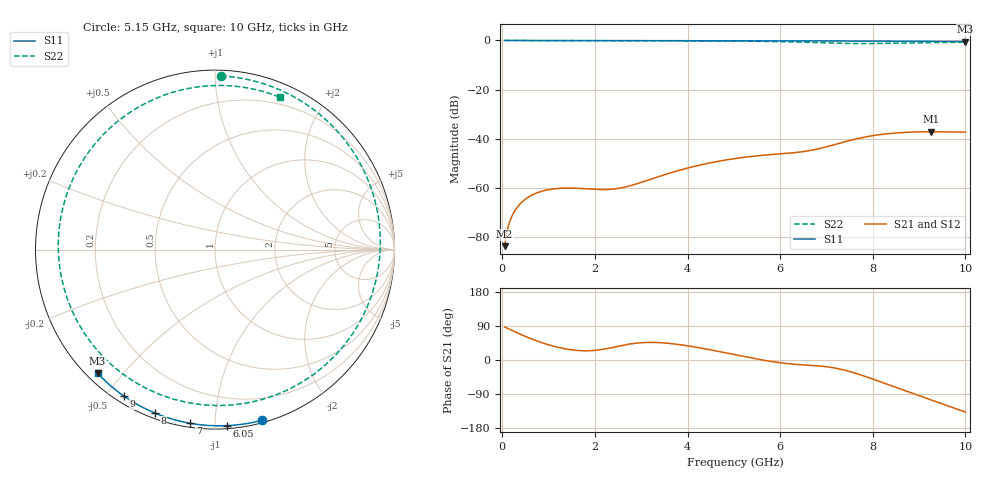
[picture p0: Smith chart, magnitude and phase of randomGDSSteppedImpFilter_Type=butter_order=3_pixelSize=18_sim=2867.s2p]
! freq	dB(S11)	phase(S11)	dB(S12)	phase(S12)
!  dB(S21)	phase(S21)	dB(S22)	phase(S22)
!S-par simulation data
#  GHz  S  DB  R 50
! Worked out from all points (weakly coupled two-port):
!   200 points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, 50 MHz to 10 GHz, reference 50 ohm
!   highest |S21| = -37.22 dB at 9.25 GHz (marker M1); lowest = -83.9 dB at 50 MHz (marker M2)
!   lowest |S11| = -0.4 dB at 10 GHz (marker M3), VSWR 38.66, Z = 1.53 - j21.4 ohm
!   |S11| at or under -10 dB: nowhere
!   |S22| runs from -1.3 to 0.0 dB; largest |S21 - S12| = 0
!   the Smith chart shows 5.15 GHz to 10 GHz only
!   S11 on the Smith chart (normalised r, x): 5.15 GHz: 0.02, -1.31; 6.05 GHz: 0.02, -1.07; 7 GHz: 0.02, -0.87; 8 GHz: 0.02, -0.70; 9 GHz: 0.03, -0.55; 10 GHz: 0.03, -0.43
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0.05  -0.00 -0.8  -83.88 87.0  -83.88 87.0  -0.00 -5.1
0.2  -0.00 -3.1  -71.97 78.4  -71.97 78.4  -0.03 -20.2
0.35  -0.01 -5.4  -67.39 70.1  -67.39 70.1  -0.05 -34.8
0.8  -0.02 -12.3  -61.79 48.0  -61.79 48.0  -0.08 -74.5
1.2  -0.02 -18.3  -60.34 33.6  -60.34 33.6  -0.10 -103.4
1.75  -0.03 -26.6  -60.43 24.4  -60.43 24.4  -0.11 -135.1
2.5  -0.05 -37.7  -60.34 36.2  -60.34 36.2  -0.12 -168.6
3.4  -0.07 -50.6  -55.37 45.8  -55.37 45.8  -0.14 157.5
4.2  -0.09 -61.8  -51.11 33.4  -51.11 33.4  -0.18 128.0
5.05  -0.11 -73.2  -48.08 13.3  -48.08 13.3  -0.27 92.7
5.15  -0.12 -74.6  -47.82 10.8  -47.82 10.8  -0.28 88.0
5.6  -0.13 -80.5  -46.87 0.3  -46.87 0.3  -0.36 64.7
6.05  -0.15 -86.2  -46.17 -8.1  -46.17 -8.1  -0.50 36.5
6.4  -0.17 -90.7  -45.56 -12.2  -45.56 -12.2  -0.65 10.1
6.7  -0.18 -94.4  -44.69 -14.4  -44.69 -14.4  -0.83 -16.4
7  -0.20 -98.1  -43.37 -17.7  -43.37 -17.7  -1.02 -46.2
7.45  -0.23 -103.6  -41.02 -28.7  -41.02 -28.7  -1.24 -94.9
8  -0.26 -110.2  -38.82 -50.3  -38.82 -50.3  -1.26 -152.0
8.35  -0.29 -114.3  -37.98 -65.6  -37.98 -65.6  -1.16 176.4
9  -0.35 -122.0  -37.27 -94.1  -37.27 -94.1  -0.95 127.6
9.25  -0.37 -124.9  -37.22 -105.0  -37.22 -105.0  -0.87 111.4
10  -0.45 -133.6  -37.39 -137.3  -37.39 -137.3  -0.70 67.0
